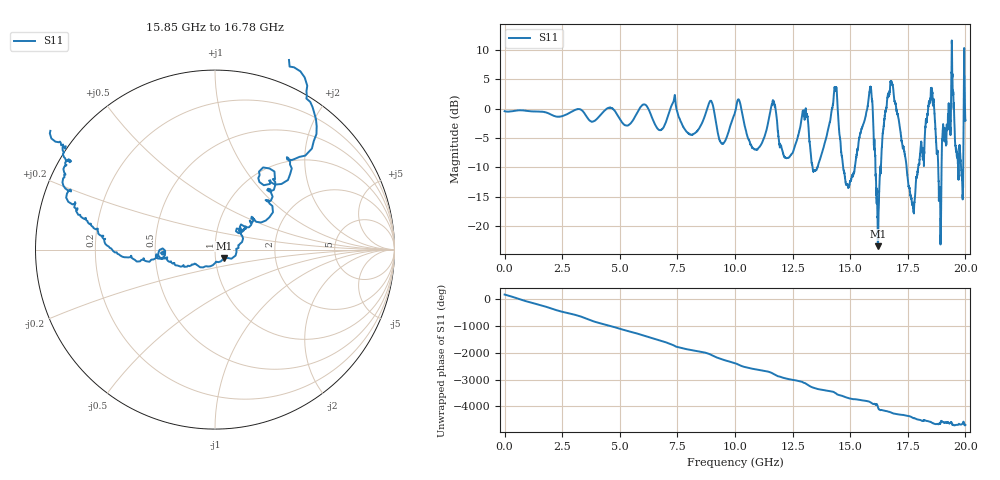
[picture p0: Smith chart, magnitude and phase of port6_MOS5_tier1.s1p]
! Created with skrf 1.8.0 (http://scikit-rf.org).
# GHz S RI R 50.0
!freq ReS11 ImS11
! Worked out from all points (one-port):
!   10001 points, 1 MHz to 20 GHz, reference 50 ohm
!   lowest |S11| = -23.4 dB at 16.2 GHz (marker M1), VSWR 1.14, Z = 54.9 - j5.13 ohm
!   |S11| at or under -10 dB: 13.37 GHz to 13.58 GHz (214 MHz wide, 1.59 % of centre); 14.69 GHz to 15.2 GHz (504.8 MHz wide, 3.38 % of centre); 17.45 GHz to 17.95 GHz (501.9 MHz wide, 2.84 % of centre) (the widest 3 of 8)
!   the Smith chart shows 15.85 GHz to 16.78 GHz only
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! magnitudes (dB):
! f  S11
! 1 MHz  -0.5
! 2.501 GHz  -1.3
! 5.001 GHz  -1.8
! 7.501 GHz  -0.6
! 8.159 GHz  -4.4
! 8.961 GHz  1.3
! 9.463 GHz  -6.0
! 10 GHz  -0.7
! 10.91 GHz  -7.0
! 11.67 GHz  1.2
! 12.04 GHz  -7.0
! 12.5 GHz  -7.5
! 13.03 GHz  -1.5
! 13.51 GHz  -10.5
! 14.35 GHz  3.1
! 14.75 GHz  -11.0
! 15 GHz  -12.4
! 15.87 GHz  3.6
! 16.2 GHz  -23.4
! 16.48 GHz  -1.9
! 16.78 GHz  4.6
! 17.5 GHz  -12.1
! 17.75 GHz  -17.5
! 18.49 GHz  1.5
! 18.87 GHz  -14.0
! 19.36 GHz  -2.4
! 19.8 GHz  -9.3
! 20 GHz  -2.0
